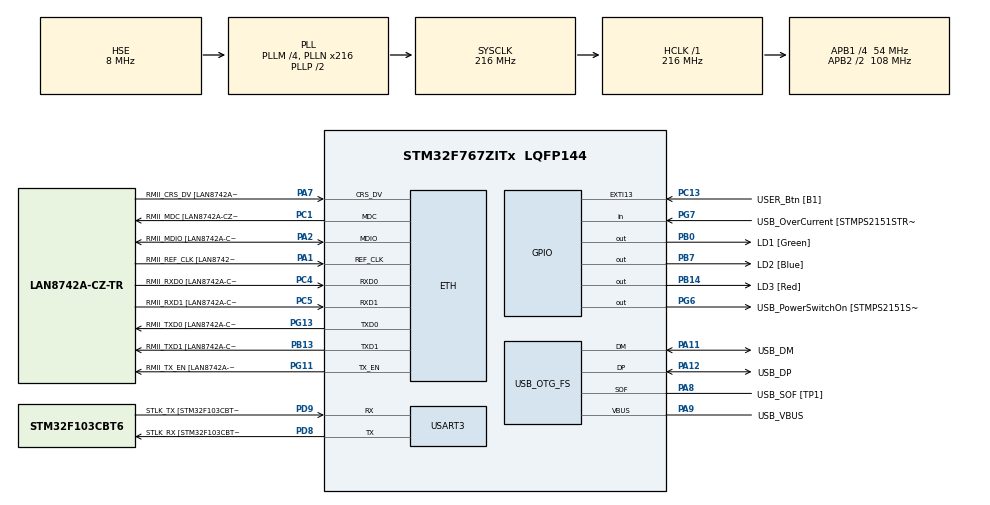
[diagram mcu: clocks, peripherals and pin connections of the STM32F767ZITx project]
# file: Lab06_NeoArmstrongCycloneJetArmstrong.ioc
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ETH.MediaInterface=HAL_ETH_RMII_MODE
ETH.PHY_Name=LAN8742A_PHY_ADDRESS
ETH.PHY_Value=0
ETH.PhyAddress=0
Mcu.Family=STM32F7
Mcu.Name=STM32F767ZITx
Mcu.Package=LQFP144
NVIC.PriorityGroup=NVIC_PRIORITYGROUP_4
NVIC.TIM1_UP_TIM10_IRQn=true\:1\:0\:true\:false\:true\:true\:true\:true
NVIC.TIM2_IRQn=true\:2\:0\:true\:false\:true\:true\:true\:true
PA1.GPIO_Label=RMII_REF_CLK [LAN8742A-CZ-TR_REFCLK0]
PA1.Mode=RMII
PA1.Signal=ETH_REF_CLK
PA10.GPIO_Label=USB_ID
PA10.Signal=USB_OTG_FS_ID
PA11.GPIO_Label=USB_DM
PA11.Mode=Device_Only
PA11.Signal=USB_OTG_FS_DM
PA12.GPIO_Label=USB_DP
PA12.Mode=Device_Only
PA12.Signal=USB_OTG_FS_DP
PA13.GPIO_Label=TMS
PA13.Mode=Serial_Wire
PA13.Signal=SYS_JTMS-SWDIO
PA14.GPIO_Label=TCK
PA14.Mode=Serial_Wire
PA14.Signal=SYS_JTCK-SWCLK
PA2.GPIO_Label=RMII_MDIO [LAN8742A-CZ-TR_MDIO]
PA2.Mode=RMII
PA2.Signal=ETH_MDIO
PA7.GPIO_Label=RMII_CRS_DV [LAN8742A-CZ-TR_CRS_DV]
PA7.Mode=RMII
PA7.Signal=ETH_CRS_DV
PA8.GPIO_Label=USB_SOF [TP1]
PA8.Mode=Activate_SOF_FS
PA8.Signal=USB_OTG_FS_SOF
PA9.GPIO_Label=USB_VBUS
PA9.Mode=Activate_VBUS
PA9.Signal=USB_OTG_FS_VBUS
PB0.GPIO_Label=LD1 [Green]
PB0.Signal=GPIO_Output
PB13.GPIO_Label=RMII_TXD1 [LAN8742A-CZ-TR_TXD1]
PB13.Mode=RMII
PB13.Signal=ETH_TXD1
PB14.GPIO_Label=LD3 [Red]
PB14.Signal=GPIO_Output
PB3.GPIO_Label=SWO
PB3.Signal=SYS_JTDO-SWO
PB7.GPIO_Label=LD2 [Blue]
PB7.Signal=GPIO_Output
PC1.GPIO_Label=RMII_MDC [LAN8742A-CZ-TR_MDC]
PC1.Mode=RMII
PC1.Signal=ETH_MDC
PC13.GPIO_Label=USER_Btn [B1]
PC13.Signal=GPXTI13
PC14/OSC32_IN.Mode=LSE-External-Oscillator
PC14/OSC32_IN.Signal=RCC_OSC32_IN
PC15/OSC32_OUT.Mode=LSE-External-Oscillator
PC15/OSC32_OUT.Signal=RCC_OSC32_OUT
PC4.GPIO_Label=RMII_RXD0 [LAN8742A-CZ-TR_RXD0]
PC4.Mode=RMII
PC4.Signal=ETH_RXD0
PC5.GPIO_Label=RMII_RXD1 [LAN8742A-CZ-TR_RXD1]
PC5.Mode=RMII
PC5.Signal=ETH_RXD1
PD8.GPIO_Label=STLK_RX [STM32F103CBT6_PA3]
PD8.Mode=Asynchronous
PD8.Signal=USART3_TX
PD9.GPIO_Label=STLK_TX [STM32F103CBT6_PA2]
PD9.Mode=Asynchronous
PD9.Signal=USART3_RX
PG11.GPIO_Label=RMII_TX_EN [LAN8742A-CZ-TR_TXEN]
PG11.Mode=RMII
PG11.Signal=ETH_TX_EN
PG13.GPIO_Label=RMII_TXD0 [LAN8742A-CZ-TR_TXD0]
PG13.Mode=RMII
PG13.Signal=ETH_TXD0
PG6.GPIO_Label=USB_PowerSwitchOn [STMPS2151STR_EN]
PG6.Signal=GPIO_Output
PG7.GPIO_Label=USB_OverCurrent [STMPS2151STR_FAULT]
PG7.Signal=GPIO_Input
PH0/OSC_IN.GPIO_Label=MCO [STM32F103CBT6_PA8]
PH0/OSC_IN.Mode=HSE-External-Clock-Source
PH0/OSC_IN.Signal=RCC_OSC_IN
PH1/OSC_OUT.Mode=HSE-External-Clock-Source
PH1/OSC_OUT.Signal=RCC_OSC_OUT
ProjectManager.HeapSize=0x200
ProjectManager.StackSize=0x400
ProjectManager.TargetToolchain=STM32CubeIDE
RCC.48MHZClocksFreq_Value=24000000
RCC.AHBFreq_Value=216000000
RCC.APB1CLKDivider=RCC_HCLK_DIV4
RCC.APB1Freq_Value=54000000
RCC.APB1TimFreq_Value=108000000
RCC.APB2CLKDivider=RCC_HCLK_DIV2
RCC.APB2Freq_Value=108000000
RCC.APB2TimFreq_Value=216000000
RCC.CortexFreq_Value=216000000
RCC.HCLKFreq_Value=216000000
RCC.HSE_VALUE=8000000
RCC.HSI_VALUE=16000000
RCC.PLLM=4
RCC.PLLMUL=RCC_PLL_MUL9
RCC.PLLN=216
RCC.PLLQ=9
RCC.PRESCALERUSB=RCC_USBCLKSOURCE_PLL_DIV1_5
RCC.SYSCLKFreq_VALUE=216000000
RCC.SYSCLKSource=RCC_SYSCLKSOURCE_PLLCLK
RCC.SYSCLKSourceVirtual=RCC_SYSCLKSOURCE_PLLCLK
RCC.USBFreq_Value=48000000
RCC.VCOOutputFreq_Value=432000000
TIM1.Period=1000-1
TIM1.Prescaler=216-1
TIM2.Period=10000-1
TIM2.Prescaler=4320-1
USART3.VirtualMode-Asynchronous=VM_ASYNC
USB_OTG_FS.VirtualMode=Device_Only
VP_TIM1_VS_ClockSourceINT.Mode=Internal
VP_TIM2_VS_ClockSourceINT.Mode=Internal
board=NUCLEO-F767ZI

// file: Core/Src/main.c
/* USER CODE BEGIN Header */
/**
 ******************************************************************************
 * @file           : main.c
 * @brief          : Main program body
 ******************************************************************************
 * @attention
 *
 * Copyright (c) 2023 STMicroelectronics.
 * All rights reserved.
 *
 * This software is licensed under terms that can be found in the LICENSE file
 * in the root directory of this software component.
 * If no LICENSE file comes with this software, it is provided AS-IS.
 *
 ******************************************************************************
 */
/* USER CODE END Header */
#include "main.h"
#include "eth.h"
#include "tim.h"
#include "usart.h"
#include "usb_otg.h"
#include "gpio.h"

void SystemClock_Config(void);

/* USER CODE BEGIN 0 */
void displayNumber(uint32_t);
uint32_t count;
/* USER CODE END 0 */

int main(void)
{

  /* MCU Configuration--------------------------------------------------------*/

  /* Reset of all peripherals, Initializes the Flash interface and the Systick. */
  HAL_Init();

  /* Configure the system clock */
  SystemClock_Config();

  /* Initialize all configured peripherals */
  MX_GPIO_Init();
  MX_ETH_Init();
  MX_USART3_UART_Init();
  MX_USB_OTG_FS_PCD_Init();
  MX_TIM1_Init();
  MX_TIM2_Init();
  /* USER CODE BEGIN 2 */
	HAL_TIM_Base_Start_IT(&htim1);
	HAL_TIM_Base_Start_IT(&htim2);
  /* USER CODE END 2 */

  /* Infinite loop */
	while (1) {

    /* USER CODE BEGIN 3 */
		while (__HAL_UART_GET_FLAG(&huart3,UART_FLAG_TC) == RESET) {
				}
		/*================= Ex_1 =================*/
//		displayNumber(count);
//		HAL_Delay(400);

		/*================= Ex_2 in stm32f7xx_it.c=================*/

	}
  /* USER CODE END 3 */
}

void SystemClock_Config(void)
{
  RCC_OscInitTypeDef RCC_OscInitStruct = {0};
  RCC_ClkInitTypeDef RCC_ClkInitStruct = {0};

  /** Configure LSE Drive Capability
  */
  HAL_PWR_EnableBkUpAccess();

  /** Configure the main internal regulator output voltage
  */
  __HAL_RCC_PWR_CLK_ENABLE();
  __HAL_PWR_VOLTAGESCALING_CONFIG(PWR_REGULATOR_VOLTAGE_SCALE1);

  /** Initializes the RCC Oscillators according to the specified parameters
  * in the RCC_OscInitTypeDef structure.
  */
  RCC_OscInitStruct.OscillatorType = RCC_OSCILLATORTYPE_HSE;
  RCC_OscInitStruct.HSEState = RCC_HSE_BYPASS;
  RCC_OscInitStruct.PLL.PLLState = RCC_PLL_ON;
  RCC_OscInitStruct.PLL.PLLSource = RCC_PLLSOURCE_HSE;
  RCC_OscInitStruct.PLL.PLLM = 4;
  RCC_OscInitStruct.PLL.PLLN = 216;
  RCC_OscInitStruct.PLL.PLLP = RCC_PLLP_DIV2;
  RCC_OscInitStruct.PLL.PLLQ = 9;
  RCC_OscInitStruct.PLL.PLLR = 2;
  if (HAL_RCC_OscConfig(&RCC_OscInitStruct) != HAL_OK)
  {
    Error_Handler();
  }

  /** Activate the Over-Drive mode
  */
  if (HAL_PWREx_EnableOverDrive() != HAL_OK)
  {
    Error_Handler();
  }

  /** Initializes the CPU, AHB and APB buses clocks
  */
  RCC_ClkInitStruct.ClockType = RCC_CLOCKTYPE_HCLK|RCC_CLOCKTYPE_SYSCLK
                              |RCC_CLOCKTYPE_PCLK1|RCC_CLOCKTYPE_PCLK2;
  RCC_ClkInitStruct.SYSCLKSource = RCC_SYSCLKSOURCE_PLLCLK;
  RCC_ClkInitStruct.AHBCLKDivider = RCC_SYSCLK_DIV1;
  RCC_ClkInitStruct.APB1CLKDivider = RCC_HCLK_DIV4;
  RCC_ClkInitStruct.APB2CLKDivider = RCC_HCLK_DIV2;

  if (HAL_RCC_ClockConfig(&RCC_ClkInitStruct, FLASH_LATENCY_7) != HAL_OK)
  {
    Error_Handler();
  }
}

/* USER CODE BEGIN 4 */
void displayNumber(uint32_t n) {
	char str[100];
	sprintf(str, "Number = %d\n\r", n);
	HAL_UART_Transmit(&huart3, (uint8_t*) str, strlen(str), 1000);
}

void displayTime(uint32_t n) {
	char str[100];
	int mm = (n/60000)%60;
	int ss = (n/1000)%60;

	sprintf(str, "%02d:%02d\r", mm,ss);
	HAL_UART_Transmit(&huart3, (uint8_t*) str, strlen(str), 1000);
}
/* USER CODE END 4 */

void Error_Handler(void)
{
	__disable_irq();
	while (1) {
	}
}
